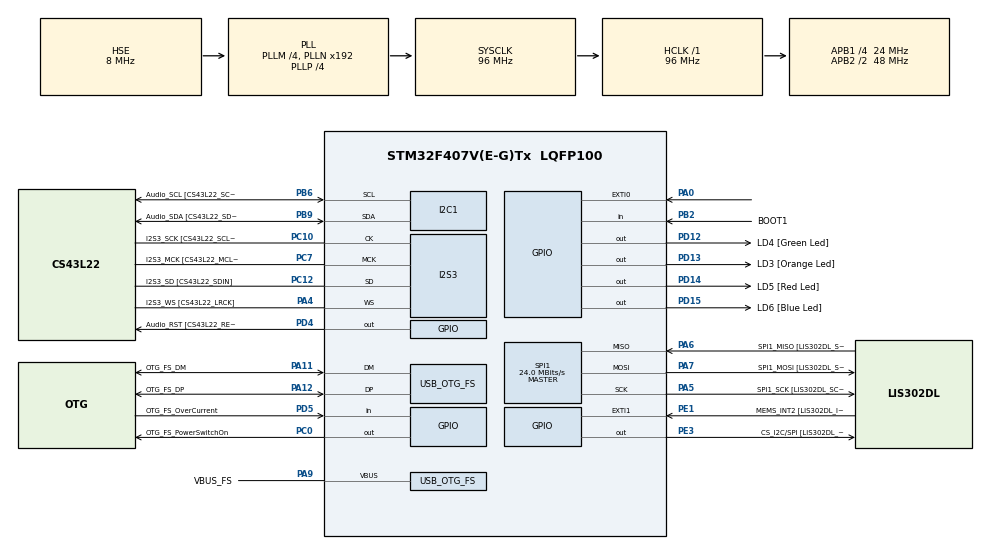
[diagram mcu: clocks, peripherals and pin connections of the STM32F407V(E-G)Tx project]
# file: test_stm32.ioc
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Dma.Request0=SPI3_TX
Dma.SPI3_TX.0.Direction=DMA_MEMORY_TO_PERIPH
Dma.SPI3_TX.0.FIFOMode=DMA_FIFOMODE_ENABLE
Dma.SPI3_TX.0.FIFOThreshold=DMA_FIFO_THRESHOLD_FULL
Dma.SPI3_TX.0.Instance=DMA1_Stream5
Dma.SPI3_TX.0.MemBurst=DMA_MBURST_SINGLE
Dma.SPI3_TX.0.MemDataAlignment=DMA_MDATAALIGN_HALFWORD
Dma.SPI3_TX.0.MemInc=DMA_MINC_ENABLE
Dma.SPI3_TX.0.Mode=DMA_CIRCULAR
Dma.SPI3_TX.0.PeriphBurst=DMA_PBURST_SINGLE
Dma.SPI3_TX.0.PeriphDataAlignment=DMA_PDATAALIGN_HALFWORD
Dma.SPI3_TX.0.PeriphInc=DMA_PINC_DISABLE
Dma.SPI3_TX.0.Priority=DMA_PRIORITY_LOW
FATFS._USE_LFN=1
I2S3.AudioFreq=I2S_AUDIOFREQ_22K
I2S3.ErrorAudioFreq=0.26 %
I2S3.FullDuplexMode=I2S_FULLDUPLEXMODE_DISABLE
I2S3.Instance=SPI$Index
I2S3.RealAudioFreq=22.058 KHz
I2S3.VirtualMode=I2S_MODE_MASTER
Mcu.Family=STM32F4
Mcu.Name=STM32F407V(E-G)Tx
Mcu.Package=LQFP100
NVIC.DMA1_Stream5_IRQn=true\:0\:0\:false\:false\:true\:false\:true
NVIC.EXTI0_IRQn=true\:0\:0\:false\:false\:true\:true\:true
NVIC.OTG_FS_IRQn=true\:0\:0\:false\:false\:true\:true\:true
NVIC.PriorityGroup=NVIC_PRIORITYGROUP_0
NVIC.SPI3_IRQn=true\:0\:0\:false\:false\:true\:true\:true
PA0-WKUP.GPIO_PuPd=GPIO_PULLDOWN
PA0-WKUP.Signal=GPXTI0
PA10.GPIO_Label=OTG_FS_ID
PA10.GPIO_Mode=GPIO_MODE_AF_PP
PA10.GPIO_PuPd=GPIO_NOPULL
PA10.GPIO_Speed=GPIO_SPEED_FREQ_LOW
PA10.Signal=USB_OTG_FS_ID
PA11.GPIO_Label=OTG_FS_DM
PA11.GPIO_Mode=GPIO_MODE_AF_PP
PA11.GPIO_PuPd=GPIO_NOPULL
PA11.GPIO_Speed=GPIO_SPEED_FREQ_LOW
PA11.Mode=Host_Only
PA11.Signal=USB_OTG_FS_DM
PA12.GPIO_Label=OTG_FS_DP
PA12.GPIO_Mode=GPIO_MODE_AF_PP
PA12.GPIO_PuPd=GPIO_NOPULL
PA12.GPIO_Speed=GPIO_SPEED_FREQ_LOW
PA12.Mode=Host_Only
PA12.Signal=USB_OTG_FS_DP
PA13.GPIO_Label=SWDIO
PA13.Mode=Serial_Wire
PA13.Signal=SYS_JTMS-SWDIO
PA14.GPIO_Label=SWCLK
PA14.Mode=Serial_Wire
PA14.Signal=SYS_JTCK-SWCLK
PA4.GPIO_Label=I2S3_WS [CS43L22_LRCK]
PA4.GPIO_Mode=GPIO_MODE_AF_PP
PA4.GPIO_PuPd=GPIO_NOPULL
PA4.GPIO_Speed=GPIO_SPEED_FREQ_HIGH
PA4.Mode=Half_Duplex_Master
PA4.Signal=I2S3_WS
PA5.GPIO_Label=SPI1_SCK [LIS302DL_SCL/SPC]
PA5.GPIO_Mode=GPIO_MODE_AF_PP
PA5.GPIO_PuPd=GPIO_NOPULL
PA5.GPIO_Speed=GPIO_SPEED_FREQ_LOW
PA5.Mode=Full_Duplex_Master
PA5.Signal=SPI1_SCK
PA6.GPIO_Label=SPI1_MISO [LIS302DL_SDO]
PA6.GPIO_Mode=GPIO_MODE_AF_PP
PA6.GPIO_PuPd=GPIO_NOPULL
PA6.GPIO_Speed=GPIO_SPEED_FREQ_LOW
PA6.Mode=Full_Duplex_Master
PA6.Signal=SPI1_MISO
PA7.GPIO_Label=SPI1_MOSI [LIS302DL_SDA/SDI/SDO]
PA7.GPIO_Mode=GPIO_MODE_AF_PP
PA7.GPIO_PuPd=GPIO_NOPULL
PA7.GPIO_Speed=GPIO_SPEED_FREQ_LOW
PA7.Mode=Full_Duplex_Master
PA7.Signal=SPI1_MOSI
PA9.GPIO_Label=VBUS_FS
PA9.GPIO_Mode=GPIO_MODE_INPUT
PA9.GPIO_PuPd=GPIO_NOPULL
PA9.Mode=Activate_VBUS
PA9.Signal=USB_OTG_FS_VBUS
PB10.GPIO_Label=CLK_IN [MP45DT02_CLK]
PB10.GPIO_Mode=GPIO_MODE_AF_PP
PB10.GPIO_PuPd=GPIO_NOPULL
PB10.GPIO_Speed=GPIO_SPEED_FREQ_LOW
PB10.Signal=I2S2_CK
PB2.GPIO_Label=BOOT1
PB2.GPIO_Mode=GPIO_MODE_INPUT
PB2.GPIO_PuPd=GPIO_NOPULL
PB2.Signal=GPIO_Input
PB3.GPIO_Label=SWO
PB3.Signal=SYS_JTDO-SWO
PB6.GPIO_Label=Audio_SCL [CS43L22_SCL]
PB6.GPIO_Mode=GPIO_MODE_AF_OD
PB6.GPIO_PuPd=GPIO_NOPULL
PB6.GPIO_Speed=GPIO_SPEED_FREQ_LOW
PB6.Mode=I2C
PB6.Signal=I2C1_SCL
PB9.GPIO_Label=Audio_SDA [CS43L22_SDA]
PB9.GPIO_Mode=GPIO_MODE_AF_OD
PB9.GPIO_PuPd=GPIO_NOPULL
PB9.GPIO_Speed=GPIO_SPEED_FREQ_LOW
PB9.Mode=I2C
PB9.Signal=I2C1_SDA
PC0.GPIO_Label=OTG_FS_PowerSwitchOn
PC0.GPIO_PuPd=GPIO_NOPULL
PC0.GPIO_Speed=GPIO_SPEED_FREQ_LOW
PC0.PinState=GPIO_PIN_SET
PC0.Signal=GPIO_Output
PC10.GPIO_Label=I2S3_SCK [CS43L22_SCLK]
PC10.GPIO_Mode=GPIO_MODE_AF_PP
PC10.GPIO_PuPd=GPIO_NOPULL
PC10.GPIO_Speed=GPIO_SPEED_FREQ_HIGH
PC10.Mode=Half_Duplex_Master
PC10.Signal=I2S3_CK
PC12.GPIO_Label=I2S3_SD [CS43L22_SDIN]
PC12.GPIO_Mode=GPIO_MODE_AF_PP
PC12.GPIO_PuPd=GPIO_NOPULL
PC12.GPIO_Speed=GPIO_SPEED_FREQ_HIGH
PC12.Mode=Half_Duplex_Master
PC12.Signal=I2S3_SD
PC14-OSC32_IN.GPIO_Label=PC14-OSC32_IN
PC14-OSC32_IN.Mode=LSE-External-Oscillator
PC14-OSC32_IN.Signal=RCC_OSC32_IN
PC15-OSC32_OUT.GPIO_Label=PC15-OSC32_OUT
PC15-OSC32_OUT.Mode=LSE-External-Oscillator
PC15-OSC32_OUT.Signal=RCC_OSC32_OUT
PC3.GPIO_Label=PDM_OUT [MP45DT02_DOUT]
PC3.GPIO_Mode=GPIO_MODE_AF_PP
PC3.GPIO_PuPd=GPIO_NOPULL
PC3.GPIO_Speed=GPIO_SPEED_FREQ_LOW
PC3.Signal=I2S2_SD
PC7.GPIO_Label=I2S3_MCK [CS43L22_MCLK]
PC7.GPIO_Mode=GPIO_MODE_AF_PP
PC7.GPIO_PuPd=GPIO_NOPULL
PC7.GPIO_Speed=GPIO_SPEED_FREQ_HIGH
PC7.Mode=Master_Clock_Activated
PC7.Signal=I2S3_MCK
PD12.GPIO_Label=LD4 [Green Led]
PD12.GPIO_PuPd=GPIO_NOPULL
PD12.GPIO_Speed=GPIO_SPEED_FREQ_LOW
PD12.Signal=GPIO_Output
PD13.GPIO_Label=LD3 [Orange Led]
PD13.GPIO_PuPd=GPIO_NOPULL
PD13.GPIO_Speed=GPIO_SPEED_FREQ_LOW
PD13.Signal=GPIO_Output
PD14.GPIO_Label=LD5 [Red Led]
PD14.GPIO_PuPd=GPIO_NOPULL
PD14.GPIO_Speed=GPIO_SPEED_FREQ_LOW
PD14.Signal=GPIO_Output
PD15.GPIO_Label=LD6 [Blue Led]
PD15.GPIO_PuPd=GPIO_NOPULL
PD15.GPIO_Speed=GPIO_SPEED_FREQ_LOW
PD15.Signal=GPIO_Output
PD4.GPIO_Label=Audio_RST [CS43L22_RESET]
PD4.GPIO_PuPd=GPIO_NOPULL
PD4.GPIO_Speed=GPIO_SPEED_FREQ_LOW
PD4.Signal=GPIO_Output
PD5.GPIO_Label=OTG_FS_OverCurrent
PD5.GPIO_Mode=GPIO_MODE_INPUT
PD5.GPIO_PuPd=GPIO_NOPULL
PD5.Signal=GPIO_Input
PE1.GPIO_Label=MEMS_INT2 [LIS302DL_INT2]
PE1.GPIO_ModeDefaultEXTI=GPIO_MODE_EVT_RISING
PE1.GPIO_PuPd=GPIO_NOPULL
PE1.Signal=GPXTI1
PE3.GPIO_Label=CS_I2C/SPI [LIS302DL_CS_I2C/SPI]
PE3.GPIO_PuPd=GPIO_NOPULL
PE3.GPIO_Speed=GPIO_SPEED_FREQ_LOW
PE3.Signal=GPIO_Output
PH0-OSC_IN.GPIO_Label=PH0-OSC_IN
PH0-OSC_IN.Mode=HSE-External-Oscillator
PH0-OSC_IN.Signal=RCC_OSC_IN
PH1-OSC_OUT.GPIO_Label=PH1-OSC_OUT
PH1-OSC_OUT.Mode=HSE-External-Oscillator
PH1-OSC_OUT.Signal=RCC_OSC_OUT
ProjectManager.HeapSize=0x200
ProjectManager.StackSize=0x400
ProjectManager.TargetToolchain=Makefile
RCC.48MHZClocksFreq_Value=48000000
RCC.AHBFreq_Value=96000000
RCC.APB1CLKDivider=RCC_HCLK_DIV4
RCC.APB1Freq_Value=24000000
RCC.APB1TimFreq_Value=48000000
RCC.APB2CLKDivider=RCC_HCLK_DIV2
RCC.APB2Freq_Value=48000000
RCC.APB2TimFreq_Value=96000000
RCC.CortexFreq_Value=96000000
RCC.HCLKFreq_Value=96000000
RCC.HSE_VALUE=8000000
RCC.HSI_VALUE=16000000
RCC.PLLM=4
RCC.PLLP=RCC_PLLP_DIV4
RCC.PLLQ=8
RCC.SYSCLKFreq_VALUE=96000000
RCC.SYSCLKSource=RCC_SYSCLKSOURCE_PLLCLK
RCC.VCOOutputFreq_Value=384000000
SPI1.BaudRatePrescaler=SPI_BAUDRATEPRESCALER_2
SPI1.BaudRatePrescaler-Full_Duplex_Master=SPI_BAUDRATEPRESCALER_2
SPI1.CalculateBaudRate=24.0 MBits/s
SPI1.CalculateBaudRate-Full_Duplex_Master=42.0 MBits/s
SPI1.Direction=SPI_DIRECTION_2LINES
SPI1.Mode=SPI_MODE_MASTER
SPI1.Mode-Full_Duplex_Master=SPI_MODE_MASTER
SPI1.VirtualType=VM_MASTER
USB_HOST.BSP.number=1
USB_HOST.USBH_HandleTypeDef-MSC_FS=hUsbHostFS
USB_HOST.VirtualModeFS=Msc
USB_HOST0.BSP.STBoard=false
USB_HOST0.BSP.api=Unknown
USB_HOST0.BSP.i2caddr=0
USB_HOST0.BSP.instance=PC0
USB_HOST0.BSP.ip=GPIO
USB_HOST0.BSP.mode=Output
USB_HOST0.BSP.name=Drive_VBUS_FS
USB_HOST0.BSP.solution=PC0
USB_OTG_FS.VirtualMode=Host_Only
USB_OTG_FS.phy_itface=HCD_PHY_EMBEDDED
VP_FATFS_VS_USB.Mode=USB
VP_USB_HOST_VS_USB_HOST_MSC_FS.Mode=MSC_FS
board=STM32F407G-DISC1

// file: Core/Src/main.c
/* USER CODE BEGIN Header */
/**
  ******************************************************************************
  * @file           : main.c
  * @brief          : Main program body
  ******************************************************************************
  * @attention
  *
  * <h2><center>&copy; Copyright (c) 2021 STMicroelectronics.
  * All rights reserved.</center></h2>
  *
  * This software component is licensed by ST under Ultimate Liberty license
  * SLA0044, the "License"; You may not use this file except in compliance with
  * the License. You may obtain a copy of the License at:
  *                             www.st.com/SLA0044
  *
  ******************************************************************************
  */
/* USER CODE END Header */
#include "main.h"
#include "fatfs.h"
#include "usb_host.h"

/* USER CODE BEGIN Includes */
#include "math.h"
#define BUFFER_SIZE 2200
#define AUDIO_I2C_ADDR 0x94

static int16_t audio_data[2*BUFFER_SIZE];
/* USER CODE END Includes */

I2C_HandleTypeDef hi2c1;

I2S_HandleTypeDef hi2s3;
DMA_HandleTypeDef hdma_spi3_tx;

SPI_HandleTypeDef hspi1;

void SystemClock_Config(void);
static void MX_GPIO_Init(void);
static void MX_DMA_Init(void);
static void MX_I2C1_Init(void);
static void MX_I2S3_Init(void);
static void MX_SPI1_Init(void);
void MX_USB_HOST_Process(void);

/* USER CODE BEGIN 0 */
static void cs43l22_write(uint8_t reg, uint8_t value) {
  HAL_I2C_Mem_Write(&hi2c1, AUDIO_I2C_ADDR, reg, 1, &value, sizeof(value), HAL_MAX_DELAY);
}

static void cs43l22_init(void) {
  HAL_GPIO_WritePin(Audio_RST_GPIO_Port, Audio_RST_Pin, GPIO_PIN_SET);

  cs43l22_write(0x04, 0xaf);
  cs43l22_write(0x06, 0x07);
  cs43l22_write(0x02, 0x9e);
}
/* USER CODE END 0 */

int main(void)
{

  /* MCU Configuration--------------------------------------------------------*/

  /* Reset of all peripherals, Initializes the Flash interface and the Systick. */
  HAL_Init();

  /* Configure the system clock */
  SystemClock_Config();

  /* Initialize all configured peripherals */
  MX_GPIO_Init();
  MX_DMA_Init();
  MX_I2C1_Init();
  MX_I2S3_Init();
  MX_SPI1_Init();
  MX_USB_HOST_Init();
  MX_FATFS_Init();
  /* USER CODE BEGIN 2 */
  for(int i = 0; i < BUFFER_SIZE; i++){
    int16_t value = (int16_t)(32000.0 * sin(2.0 * M_PI * i / 22.0));
    audio_data[i * 2] = value;
    audio_data[ i * 2 + 1] = value;
  }

  cs43l22_init();
  /* USER CODE END 2 */

  /* Infinite loop */
  /* USER CODE BEGIN WHILE */
  while (1)
  {
    HAL_GPIO_TogglePin(LD3_GPIO_Port,LD3_Pin);
    HAL_GPIO_TogglePin(LD5_GPIO_Port,LD5_Pin);
    HAL_I2S_Transmit(&hi2s3, (uint16_t*)audio_data, 2 * BUFFER_SIZE, HAL_MAX_DELAY);
    /* USER CODE END WHILE */
    MX_USB_HOST_Process();

  }
}

void SystemClock_Config(void)
{
  RCC_OscInitTypeDef RCC_OscInitStruct = {0};
  RCC_ClkInitTypeDef RCC_ClkInitStruct = {0};
  RCC_PeriphCLKInitTypeDef PeriphClkInitStruct = {0};

  /** Configure the main internal regulator output voltage
  */
  __HAL_RCC_PWR_CLK_ENABLE();
  __HAL_PWR_VOLTAGESCALING_CONFIG(PWR_REGULATOR_VOLTAGE_SCALE1);
  /** Initializes the RCC Oscillators according to the specified parameters
  * in the RCC_OscInitTypeDef structure.
  */
  RCC_OscInitStruct.OscillatorType = RCC_OSCILLATORTYPE_HSE;
  RCC_OscInitStruct.HSEState = RCC_HSE_ON;
  RCC_OscInitStruct.PLL.PLLState = RCC_PLL_ON;
  RCC_OscInitStruct.PLL.PLLSource = RCC_PLLSOURCE_HSE;
  RCC_OscInitStruct.PLL.PLLM = 4;
  RCC_OscInitStruct.PLL.PLLN = 192;
  RCC_OscInitStruct.PLL.PLLP = RCC_PLLP_DIV4;
  RCC_OscInitStruct.PLL.PLLQ = 8;
  if (HAL_RCC_OscConfig(&RCC_OscInitStruct) != HAL_OK)
  {
    Error_Handler();
  }
  /** Initializes the CPU, AHB and APB buses clocks
  */
  RCC_ClkInitStruct.ClockType = RCC_CLOCKTYPE_HCLK|RCC_CLOCKTYPE_SYSCLK
                              |RCC_CLOCKTYPE_PCLK1|RCC_CLOCKTYPE_PCLK2;
  RCC_ClkInitStruct.SYSCLKSource = RCC_SYSCLKSOURCE_PLLCLK;
  RCC_ClkInitStruct.AHBCLKDivider = RCC_SYSCLK_DIV1;
  RCC_ClkInitStruct.APB1CLKDivider = RCC_HCLK_DIV4;
  RCC_ClkInitStruct.APB2CLKDivider = RCC_HCLK_DIV2;

  if (HAL_RCC_ClockConfig(&RCC_ClkInitStruct, FLASH_LATENCY_3) != HAL_OK)
  {
    Error_Handler();
  }
  PeriphClkInitStruct.PeriphClockSelection = RCC_PERIPHCLK_I2S;
  PeriphClkInitStruct.PLLI2S.PLLI2SN = 192;
  PeriphClkInitStruct.PLLI2S.PLLI2SR = 2;
  if (HAL_RCCEx_PeriphCLKConfig(&PeriphClkInitStruct) != HAL_OK)
  {
    Error_Handler();
  }
}

static void MX_I2C1_Init(void)
{

  hi2c1.Instance = I2C1;
  hi2c1.Init.ClockSpeed = 100000;
  hi2c1.Init.DutyCycle = I2C_DUTYCYCLE_2;
  hi2c1.Init.OwnAddress1 = 0;
  hi2c1.Init.AddressingMode = I2C_ADDRESSINGMODE_7BIT;
  hi2c1.Init.DualAddressMode = I2C_DUALADDRESS_DISABLE;
  hi2c1.Init.OwnAddress2 = 0;
  hi2c1.Init.GeneralCallMode = I2C_GENERALCALL_DISABLE;
  hi2c1.Init.NoStretchMode = I2C_NOSTRETCH_DISABLE;
  if (HAL_I2C_Init(&hi2c1) != HAL_OK)
  {
    Error_Handler();
  }

}

static void MX_I2S3_Init(void)
{

  hi2s3.Instance = SPI3;
  hi2s3.Init.Mode = I2S_MODE_MASTER_TX;
  hi2s3.Init.Standard = I2S_STANDARD_PHILIPS;
  hi2s3.Init.DataFormat = I2S_DATAFORMAT_16B;
  hi2s3.Init.MCLKOutput = I2S_MCLKOUTPUT_ENABLE;
  hi2s3.Init.AudioFreq = I2S_AUDIOFREQ_22K;
  hi2s3.Init.CPOL = I2S_CPOL_LOW;
  hi2s3.Init.ClockSource = I2S_CLOCK_PLL;
  hi2s3.Init.FullDuplexMode = I2S_FULLDUPLEXMODE_DISABLE;
  if (HAL_I2S_Init(&hi2s3) != HAL_OK)
  {
    Error_Handler();
  }

}

static void MX_SPI1_Init(void)
{

  /* SPI1 parameter configuration*/
  hspi1.Instance = SPI1;
  hspi1.Init.Mode = SPI_MODE_MASTER;
  hspi1.Init.Direction = SPI_DIRECTION_2LINES;
  hspi1.Init.DataSize = SPI_DATASIZE_8BIT;
  hspi1.Init.CLKPolarity = SPI_POLARITY_LOW;
  hspi1.Init.CLKPhase = SPI_PHASE_1EDGE;
  hspi1.Init.NSS = SPI_NSS_SOFT;
  hspi1.Init.BaudRatePrescaler = SPI_BAUDRATEPRESCALER_2;
  hspi1.Init.FirstBit = SPI_FIRSTBIT_MSB;
  hspi1.Init.TIMode = SPI_TIMODE_DISABLE;
  hspi1.Init.CRCCalculation = SPI_CRCCALCULATION_DISABLE;
  hspi1.Init.CRCPolynomial = 10;
  if (HAL_SPI_Init(&hspi1) != HAL_OK)
  {
    Error_Handler();
  }

}

static void MX_DMA_Init(void)
{

  /* DMA controller clock enable */
  __HAL_RCC_DMA1_CLK_ENABLE();

  /* DMA interrupt init */
  /* DMA1_Stream5_IRQn interrupt configuration */
  HAL_NVIC_SetPriority(DMA1_Stream5_IRQn, 0, 0);
  HAL_NVIC_EnableIRQ(DMA1_Stream5_IRQn);

}

static void MX_GPIO_Init(void)
{
  GPIO_InitTypeDef GPIO_InitStruct = {0};

  /* GPIO Ports Clock Enable */
  __HAL_RCC_GPIOE_CLK_ENABLE();
  __HAL_RCC_GPIOC_CLK_ENABLE();
  __HAL_RCC_GPIOH_CLK_ENABLE();
  __HAL_RCC_GPIOA_CLK_ENABLE();
  __HAL_RCC_GPIOB_CLK_ENABLE();
  __HAL_RCC_GPIOD_CLK_ENABLE();

  /*Configure GPIO pin Output Level */
  HAL_GPIO_WritePin(CS_I2C_SPI_GPIO_Port, CS_I2C_SPI_Pin, GPIO_PIN_RESET);

  /*Configure GPIO pin Output Level */
  HAL_GPIO_WritePin(OTG_FS_PowerSwitchOn_GPIO_Port, OTG_FS_PowerSwitchOn_Pin, GPIO_PIN_SET);

  /*Configure GPIO pin Output Level */
  HAL_GPIO_WritePin(GPIOD, LD4_Pin|LD3_Pin|LD5_Pin|LD6_Pin
                          |Audio_RST_Pin, GPIO_PIN_RESET);

  /*Configure GPIO pin : CS_I2C_SPI_Pin */
  GPIO_InitStruct.Pin = CS_I2C_SPI_Pin;
  GPIO_InitStruct.Mode = GPIO_MODE_OUTPUT_PP;
  GPIO_InitStruct.Pull = GPIO_NOPULL;
  GPIO_InitStruct.Speed = GPIO_SPEED_FREQ_LOW;
  HAL_GPIO_Init(CS_I2C_SPI_GPIO_Port, &GPIO_InitStruct);

  /*Configure GPIO pin : OTG_FS_PowerSwitchOn_Pin */
  GPIO_InitStruct.Pin = OTG_FS_PowerSwitchOn_Pin;
  GPIO_InitStruct.Mode = GPIO_MODE_OUTPUT_PP;
  GPIO_InitStruct.Pull = GPIO_NOPULL;
  GPIO_InitStruct.Speed = GPIO_SPEED_FREQ_LOW;
  HAL_GPIO_Init(OTG_FS_PowerSwitchOn_GPIO_Port, &GPIO_InitStruct);

  /*Configure GPIO pin : PDM_OUT_Pin */
  GPIO_InitStruct.Pin = PDM_OUT_Pin;
  GPIO_InitStruct.Mode = GPIO_MODE_AF_PP;
  GPIO_InitStruct.Pull = GPIO_NOPULL;
  GPIO_InitStruct.Speed = GPIO_SPEED_FREQ_LOW;
  GPIO_InitStruct.Alternate = GPIO_AF5_SPI2;
  HAL_GPIO_Init(PDM_OUT_GPIO_Port, &GPIO_InitStruct);

  /*Configure GPIO pin : PA0 */
  GPIO_InitStruct.Pin = GPIO_PIN_0;
  GPIO_InitStruct.Mode = GPIO_MODE_IT_RISING;
  GPIO_InitStruct.Pull = GPIO_PULLDOWN;
  HAL_GPIO_Init(GPIOA, &GPIO_InitStruct);

  /*Configure GPIO pin : BOOT1_Pin */
  GPIO_InitStruct.Pin = BOOT1_Pin;
  GPIO_InitStruct.Mode = GPIO_MODE_INPUT;
  GPIO_InitStruct.Pull = GPIO_NOPULL;
  HAL_GPIO_Init(BOOT1_GPIO_Port, &GPIO_InitStruct);

  /*Configure GPIO pin : CLK_IN_Pin */
  GPIO_InitStruct.Pin = CLK_IN_Pin;
  GPIO_InitStruct.Mode = GPIO_MODE_AF_PP;
  GPIO_InitStruct.Pull = GPIO_NOPULL;
  GPIO_InitStruct.Speed = GPIO_SPEED_FREQ_LOW;
  GPIO_InitStruct.Alternate = GPIO_AF5_SPI2;
  HAL_GPIO_Init(CLK_IN_GPIO_Port, &GPIO_InitStruct);

  /*Configure GPIO pins : LD4_Pin LD3_Pin LD5_Pin LD6_Pin
                           Audio_RST_Pin */
  GPIO_InitStruct.Pin = LD4_Pin|LD3_Pin|LD5_Pin|LD6_Pin
                          |Audio_RST_Pin;
  GPIO_InitStruct.Mode = GPIO_MODE_OUTPUT_PP;
  GPIO_InitStruct.Pull = GPIO_NOPULL;
  GPIO_InitStruct.Speed = GPIO_SPEED_FREQ_LOW;
  HAL_GPIO_Init(GPIOD, &GPIO_InitStruct);

  /*Configure GPIO pin : OTG_FS_OverCurrent_Pin */
  GPIO_InitStruct.Pin = OTG_FS_OverCurrent_Pin;
  GPIO_InitStruct.Mode = GPIO_MODE_INPUT;
  GPIO_InitStruct.Pull = GPIO_NOPULL;
  HAL_GPIO_Init(OTG_FS_OverCurrent_GPIO_Port, &GPIO_InitStruct);

  /*Configure GPIO pin : MEMS_INT2_Pin */
  GPIO_InitStruct.Pin = MEMS_INT2_Pin;
  GPIO_InitStruct.Mode = GPIO_MODE_EVT_RISING;
  GPIO_InitStruct.Pull = GPIO_NOPULL;
  HAL_GPIO_Init(MEMS_INT2_GPIO_Port, &GPIO_InitStruct);

  /* EXTI interrupt init*/
  HAL_NVIC_SetPriority(EXTI0_IRQn, 0, 0);
  HAL_NVIC_EnableIRQ(EXTI0_IRQn);

}

void Error_Handler(void)
{
  __disable_irq();
  while (1)
  {
  }
}

/************************ (C) COPYRIGHT STMicroelectronics *****END OF FILE****/
